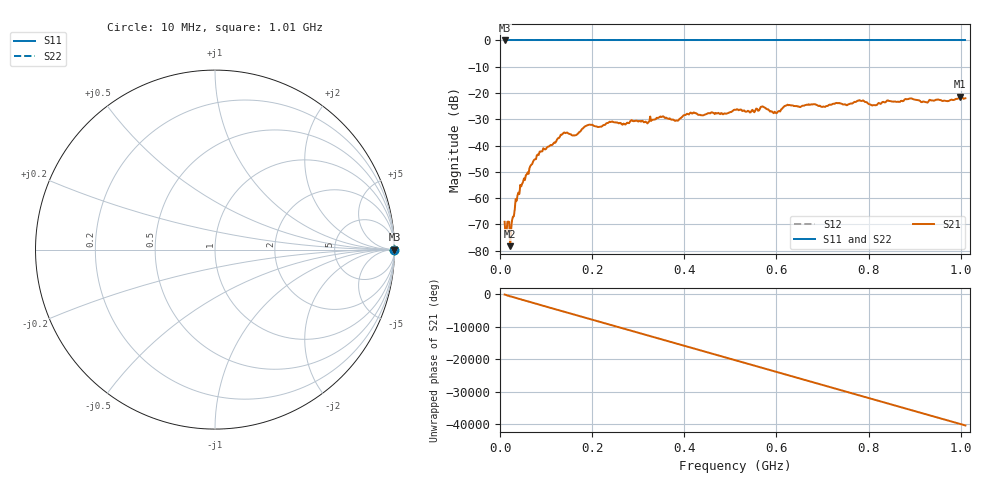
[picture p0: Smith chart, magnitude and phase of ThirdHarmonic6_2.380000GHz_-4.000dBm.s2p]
! 8/17/2025 3:47:02 AM
! C:\ANRITSUVNA\TEMP\TEMP.S2P
! CHANNEL.1
! TR.MEASUREMENT
! RAW.DATA
! RF.CORRECTION.OFF
! AVERAGING.OFF
! IF.BANDWIDTH: 5KHZ
! SWEEPTYPE:  FREQ.SWEEP(Linear)
! Reference Plane Port Info
! PORT:  PORT1  PORT2
! DISTANCE:  0  m  0  m
! TIME:  0  s  0  s
! PHASE.OFFSET:  0  deg.  0  deg.
! LOSS:  0  dB  0  dB
! REF.LOSS:  0  dB  0  dB
! REF.FREQ:  0  Hz  0  Hz
! Power Info
! POWER:  -20  dBm  -20  dBm
! EFF.POWER:  -20  dBm  -20  dBm
! SOURCE.ATTEN:  0  dB  0  dB
! TEST.ATTEN:  0  dB  0  dB
# GHZ S RI R 50.0
! FREQ.GHZ  S11RE  S11IM  S21RE  S21IM  S12RE  S12IM  S22RE  S22IM
!; PortSelection: Port_12
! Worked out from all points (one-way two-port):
!   501 points, 10 MHz to 1.01 GHz, reference 50 ohm
!   highest |S21| = -21.45 dB at 998 MHz (marker M1); lowest = -78.3 dB at 22 MHz (marker M2)
!   lowest |S11| = 0.0 dB at 10 MHz (marker M3)
!   |S11| at or under -10 dB: nowhere
!   |S22| runs from 0.0 to 0.0 dB; largest |S21 - S12| = 1.1
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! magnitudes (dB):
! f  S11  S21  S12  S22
! 10 MHz  0.0  -69.0  0.0  0.0
! 22 MHz  0.0  -78.3  0.0  0.0
! 26 MHz  0.0  -68.5  0.0  0.0
! 36 MHz  0.0  -61.1  0.0  0.0
! 48 MHz  0.0  -54.6  0.0  0.0
! 84 MHz  0.0  -43.6  0.0  0.0
! 136 MHz  0.0  -35.6  0.0  0.0
! 162 MHz  0.0  -36.1  0.0  0.0
! 178 MHz  0.0  -33.7  0.0  0.0
! 344 MHz  0.0  -29.5  0.0  0.0
! 384 MHz  0.0  -30.5  0.0  0.0
! 416 MHz  0.0  -27.8  0.0  0.0
! 510 MHz  0.0  -26.4  0.0  0.0
! 570 MHz  0.0  -25.1  0.0  0.0
! 598 MHz  0.0  -27.5  0.0  0.0
! 622 MHz  0.0  -24.7  0.0  0.0
! 678 MHz  0.0  -24.4  0.0  0.0
! 784 MHz  0.0  -23.1  0.0  0.0
! 812 MHz  0.0  -24.6  0.0  0.0
! 844 MHz  0.0  -23.0  0.0  0.0
! 998 MHz  0.0  -21.4  0.0  0.0
! 1.01 GHz  0.0  -22.0  0.0  0.0
